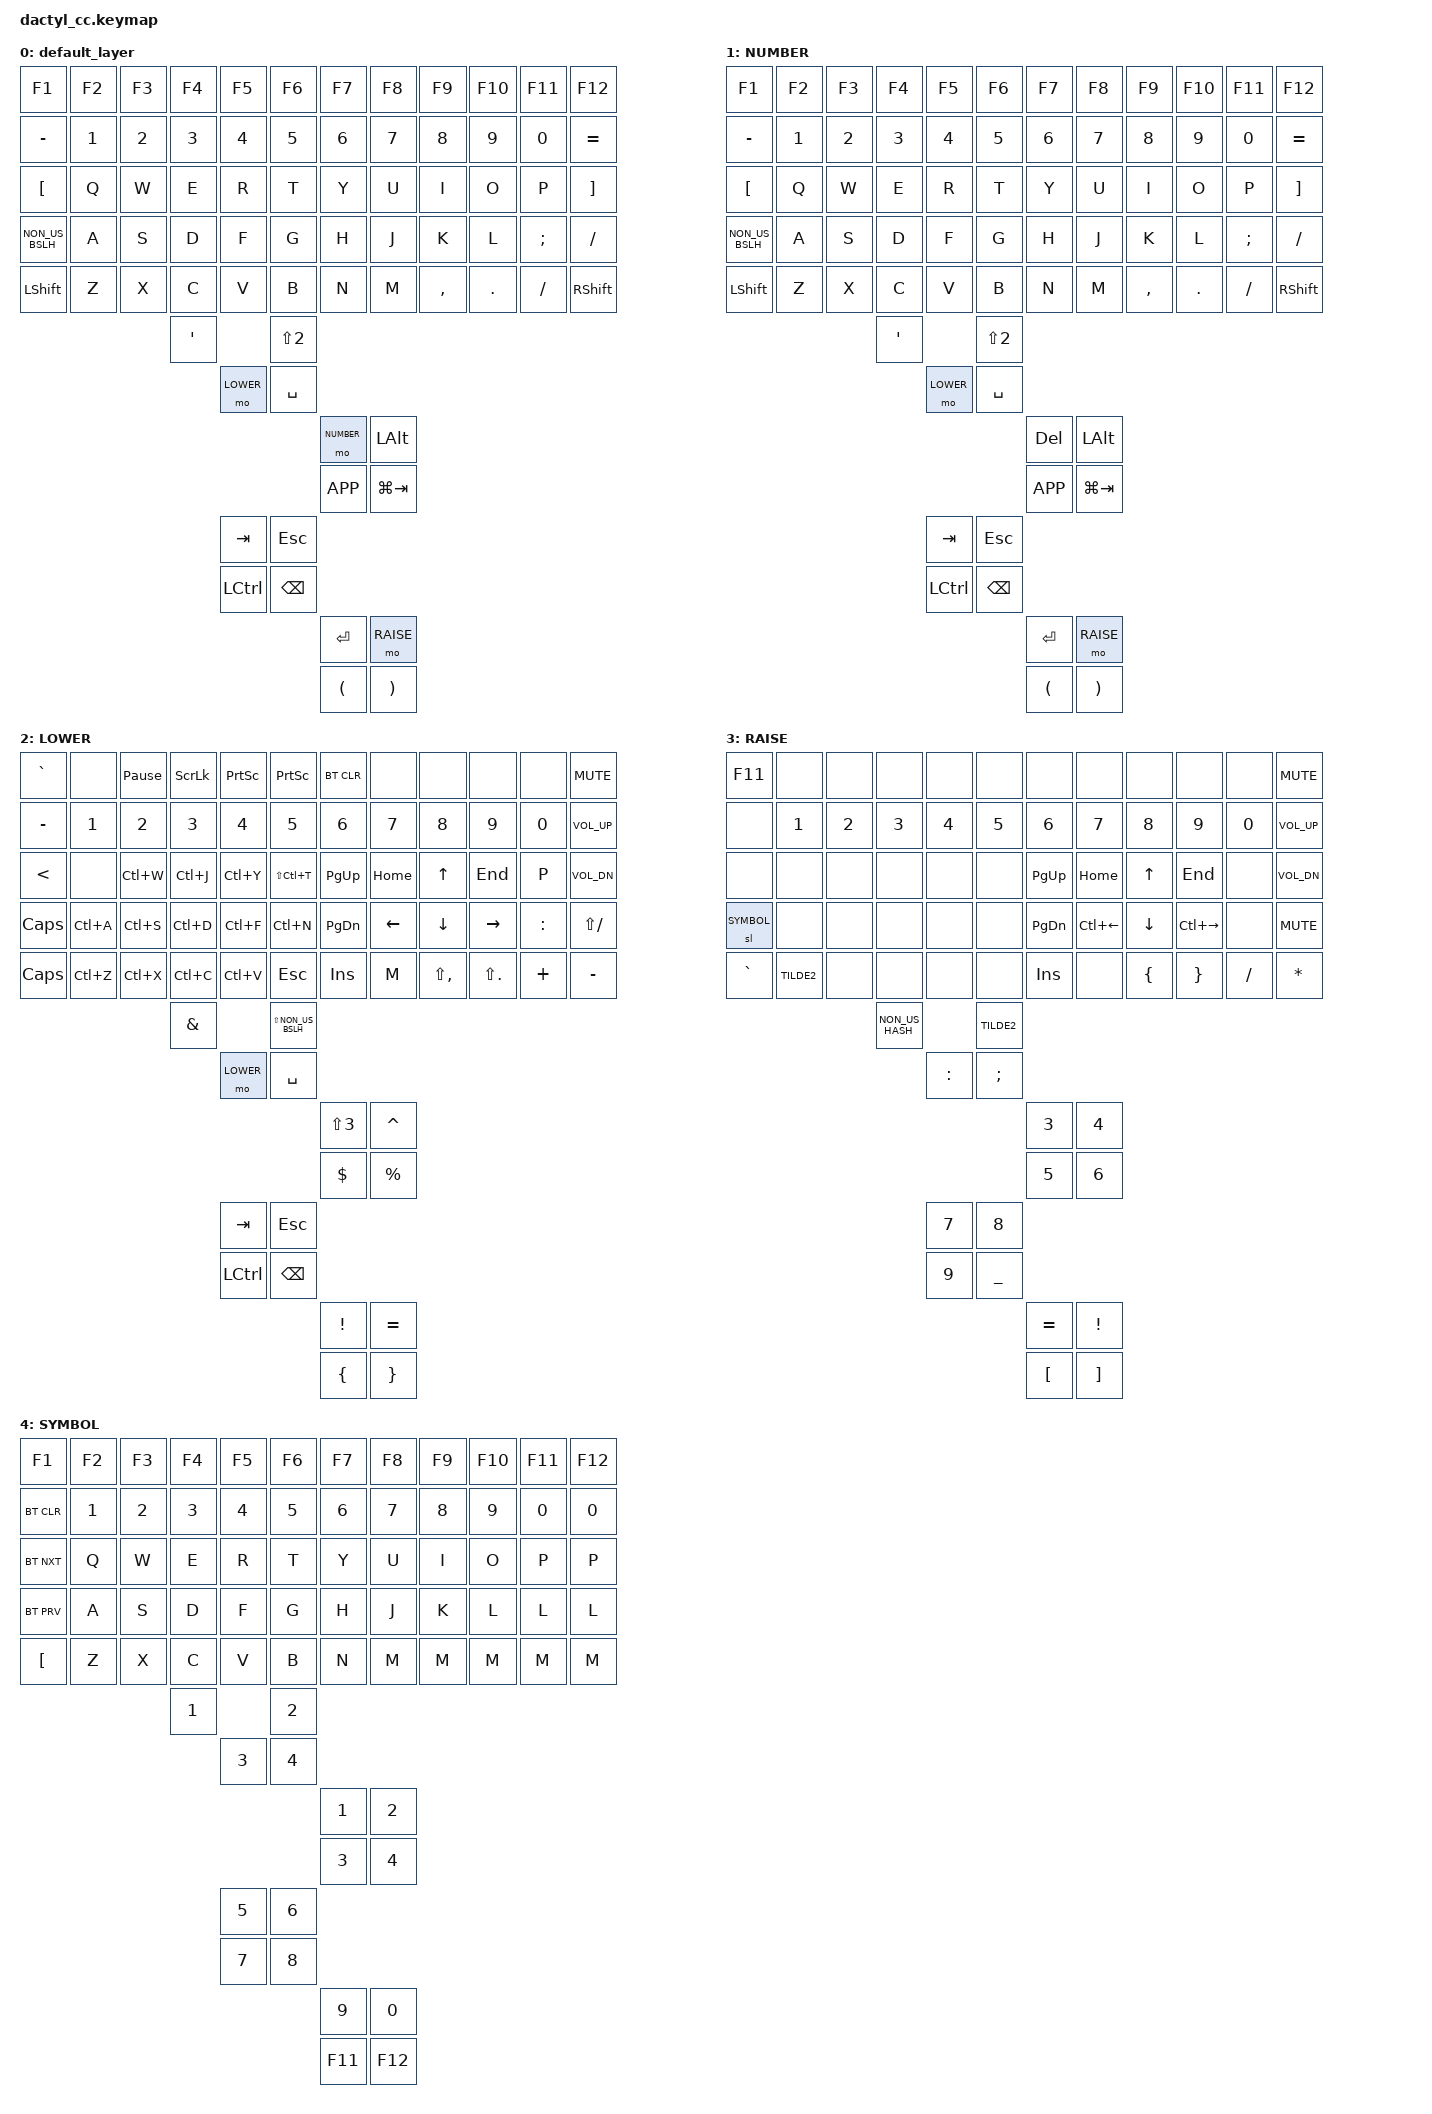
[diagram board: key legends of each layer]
#include <behaviors.dtsi>								
#include <dt-bindings/zmk/keys.h>
#include <dt-bindings/zmk/bt.h>
#include <dt-bindings/zmk/outputs.h>

// #############          LAYERS          #################
#define SYM_L   1
#define NAV_L   2
#define NAV2_L  3
//#define OTHER_L 4

#define DEFAULT 0
#define LOWER   1
#define RAISE   2
#define SYMBOL  3
#define NUMBER  4

// Desktop and tab navigation shortcuts		
#define DESKTOP_LT   LC(LG(LEFT))
#define DESKTOP_RT   LC(LG(RIGHT))					
#define WINDOW_LT    LA(LS(TAB))
#define WINDOW_RT    LA(TAB)
#define TAB_LT       LC(LS(TAB))
#define TAB_RT       LC(TAB)
// NOT USED  &kp LG(LC(LEFT))  &kp LG(LC(RIGHT))

// Generic bindings
#define KILL_WINDOW  LA(F4)
#define MAXIMIZE     LG(UP)
#define MINIMIZE     LG(DOWN)
#define UN_MINIMIZE  LG(LC(N))

&mt {
    flavor = "hold-preferred";
    tapping-term-ms = <500>;
};

&lt {
    flavor = "balanced";
    tapping-term-ms = <150>;
};

 &sl {
     release-after-ms = <2000>;
 };



/ {
    conditional_layers {
        compatible = "zmk,conditional-layers";
        tri_layer {
            if-layers = <1 2>;
            then-layer = <4>;
        };
    };
    
    macros {
        ZMK_MACRO(inv_qm,
            wait-ms = <10>;
            tap-ms = <10>;
            bindings
                = <&macro_press &kp LALT>
                , <&macro_tap &kp KP_N1 &kp KP_N6 &kp KP_N8>
                , <&macro_release &kp LALT>;
        )
    };
    

    behaviors {
     //   td_mt_ls: tap_dance_mod_tap {
     //       compatible = "zmk,behavior-tap-dance";
     //       label = "TAP_DANCE_LSHIFT";
     //       #binding-cells = <0>;
     //       tapping-term-ms = <200>;
     //       bindings = <&mt LSHIFT CAPSLOCK>, <&kp LCTRL>;
     //   };
        
     //   td_mt_rs: tap_dance_mod_tap {
     //       compatible = "zmk,behavior-tap-dance";
     //       label = "TAP_DANCE_RSHIFT";
     //       #binding-cells = <0>;
     //       tapping-term-ms = <200>;
     //       bindings = <&mt RSHIFT CAPSLOCK>, <&kp RCTRL>;
     //   };            
    };

    


    keymap {
        compatible = "zmk,keymap"; 

    default_layer {
            bindings = <
    &kp F1            &kp F2    &kp F3   &kp F4   &kp F5   &kp F6            &kp F7       &kp F8     &kp F9        &kp F10      &kp F11       &kp F12
    &kp MINUS         &kp N1    &kp N2   &kp N3   &kp N4   &kp N5            &kp N6       &kp N7     &kp N8        &kp N9       &kp N0        &kp EQUAL
    &kp LBKT          &kp Q     &kp W    &kp E    &kp R    &kp T             &kp Y        &kp U      &kp I         &kp O        &kp P         &kp RBKT
    &kp NON_US_BSLH   &kp A     &kp S    &kp D    &kp F    &kp G             &kp H        &kp J      &kp K         &kp L        &kp SEMI      &kp FSLH
    &kp LSHIFT        &kp Z     &kp X    &kp C    &kp V    &kp B             &kp N        &kp M      &kp COMMA     &kp DOT      &kp FSLH      &kp RSHIFT
                                         &kp SINGLE_QUOTE  &kp LS(N2)
                                                &mo LOWER  &kp SPACE
                                                                             &mo NUMBER   &kp LALT
                                                                             &kp K_APP    &kp LG(TAB)
                                                  &kp TAB  &kp ESC
                                                &kp LCTRL  &kp BSPC
                                                                             &kp RET      &mo RAISE
                                                                             &kp LPAR     &kp RPAR
            >;
        };
	
	
    NUMBER {
            bindings = <
    &kp F1            &kp F2    &kp F3   &kp F4   &kp F5   &kp F6            &kp F7       &kp F8     &kp F9        &kp F10      &kp F11       &kp F12
    &kp MINUS         &kp N1    &kp N2   &kp N3   &kp N4   &kp N5            &kp N6       &kp N7     &kp N8        &kp N9       &kp N0        &kp EQUAL
    &kp LBKT          &kp Q     &kp W    &kp E    &kp R    &kp T             &kp Y        &kp U      &kp I         &kp O        &kp P         &kp RBKT
    &kp NON_US_BSLH   &kp A     &kp S    &kp D    &kp F    &kp G             &kp H        &kp J      &kp K         &kp L        &kp SEMI      &kp FSLH
    &kp LSHIFT        &kp Z     &kp X    &kp C    &kp V    &kp B             &kp N        &kp M      &kp COMMA     &kp DOT      &kp FSLH      &kp RSHIFT
                                         &kp SINGLE_QUOTE  &kp LS(N2)
                                                &mo LOWER  &kp SPACE
                                                                             &kp DEL      &kp LALT
                                                                             &kp K_APP    &kp LG(TAB)
                                                  &kp TAB  &kp ESC
                                                &kp LCTRL  &kp BSPC
                                                                             &kp RET      &mo RAISE
                                                                             &kp LPAR     &kp RPAR
            >;
        };	
        
		
    LOWER {
            bindings = <
&kp GRAVE   &none       &kp PAUSE_BREAK &kp SLCK     &kp PSCRN   &kp PSCRN       &bt BT_CLR   &none      &none           &none          &none      &kp C_MUTE
&kp MINUS   &kp N1      &kp N2          &kp N3       &kp N4      &kp N5          &kp N6       &kp N7     &kp N8          &kp N9         &kp N0     &kp C_VOL_UP
&kp LT      &none       &kp LC(W)       &kp LC(J)    &kp LC(Y)   &kp LS(LC(T))   &kp PG_UP    &kp HOME   &kp UP          &kp END        &kp P      &kp C_VOL_DN
&kp CAPS    &kp LC(A)   &kp LC(S)       &kp LC(D)    &kp LC(F)   &kp LC(N)       &kp PG_DN    &kp LEFT   &kp DOWN        &kp RIGHT      &kp COLON  &kp LS(FSLH)
&kp CAPS    &kp LC(Z)   &kp LC(X)       &kp LC(C)    &kp LC(V)   &kp ESC         &kp INS      &kp M      &kp LS(COMMA)   &kp LS(DOT)    &kp PLUS   &kp MINUS
                                                     &kp AMPS    &kp LS(NON_US_BSLH)
                                                     &mo LOWER   &kp SPACE
                                                                                 &kp LS(N3)   &kp CARET
                                                                                 &kp DOLLAR   &kp PRCNT
                                                     &kp TAB     &kp ESC
                                                     &kp LCTRL   &kp BSPC
                                                                                 &kp EXCL     &kp EQUAL
                                                                                 &kp LBRC     &kp RBRC
	    >;
        };
        
      
     RAISE {
            bindings = <
&kp F11       &none         &none      &none       &none       &none            &none          &none          &none         &none          &none        &kp C_MUTE
&none         &kp N1        &kp N2     &kp N3      &kp N4      &kp N5           &kp N6         &kp N7         &kp N8        &kp N9         &kp N0       &kp C_VOL_UP
&none         &none         &none      &none       &none       &none            &kp PG_UP      &kp HOME       &kp UP        &kp END        &none        &kp C_VOL_DN
&sl SYMBOL    &none         &none      &none       &none       &none            &kp PG_DN      &kp LC(LEFT)   &kp DOWN      &kp LC(RIGHT)  &none        &kp C_MUTE
&kp GRAVE     &kp TILDE2    &none      &none       &none       &none            &kp INS        &none          &kp LBRC      &kp RBRC       &kp FSLH     &kp ASTRK 
                                          &kp NON_US_HASH      &kp TILDE2
                                                   &kp COLON   &kp SEMI
                                                                                &kp N3         &kp N4
                                                                                &kp N5         &kp N6
                                                   &kp N7      &kp N8
                                                   &kp N9      &kp UNDER
                                                                                &kp EQUAL      &kp EXCL
									        &kp LBKT       &kp RBKT                                                                          
            >;
        };


        SYMBOL {
            bindings = <
  &kp F1         &kp F2      &kp F3     &kp F4     &kp F5     &kp F6          &kp F7       &kp F8       &kp F9       &kp F10       &kp F11      &kp F12
  &bt BT_CLR     &kp N1      &kp N2     &kp N3     &kp N4     &kp N5          &kp N6       &kp N7       &kp N8       &kp N9        &kp N0       &kp N0
  &bt BT_NXT     &kp Q       &kp W      &kp E      &kp R      &kp T           &kp Y        &kp U        &kp I        &kp O         &kp P        &kp P
  &bt BT_PRV     &kp A       &kp S      &kp D      &kp F      &kp G           &kp H        &kp J        &kp K        &kp L         &kp L        &kp L
  &kp LBKT       &kp Z       &kp X      &kp C      &kp V      &kp B           &kp N        &kp M        &kp M        &kp M         &kp M        &kp M
                                                   &kp N1     &kp N2
                                                   &kp N3     &kp N4
                                                                              &kp N1       &kp N2
                                                                              &kp N3       &kp N4
                                                   &kp N5     &kp N6
                                                   &kp N7     &kp N8
                                                                              &kp N9       &kp N0
                                                                              &kp F11      &kp F12
            >;
        };
    };
};
